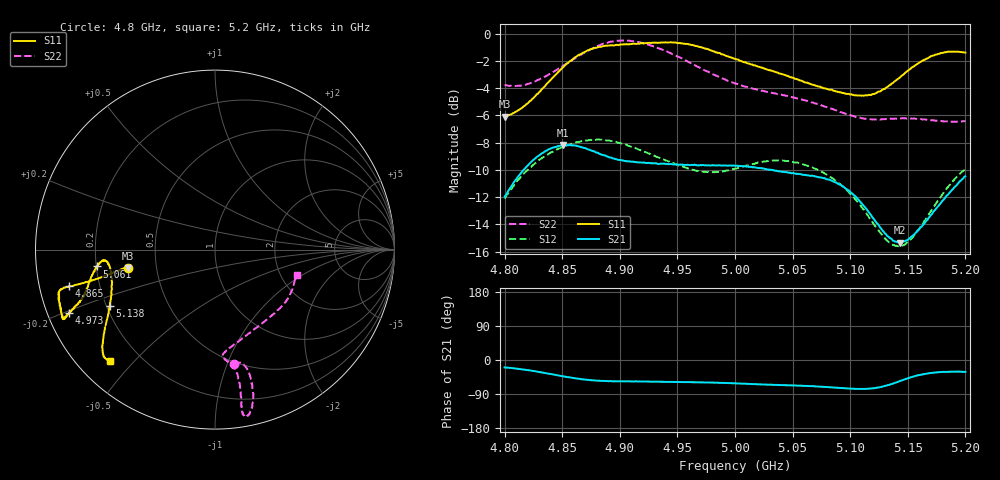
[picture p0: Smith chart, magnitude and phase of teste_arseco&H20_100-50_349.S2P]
! Network Analyzer HP8722D
! Hewlett-Packard
! Data name: Linha & Wilkinson
! Saver's name: Rodrigo Anjos
! Comments: Teste da utilização de aquisição
! continua pelo VNA HP8722D
! Time and date: 6/5/2025 15:28
!  Frequency  S11  S21  S12  S22
# HZ  S  MA R 50
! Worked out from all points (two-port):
!   401 points, 4.8 GHz to 5.2 GHz, reference 50 ohm
!   highest |S21| = -8.16 dB at 4.851 GHz (marker M1); lowest = -15.3 dB at 5.143 GHz (marker M2)
!   |S21| within 3 dB of the highest: 4.806 GHz to 5.093 GHz (286.5 MHz wide, 5.79 % of centre); 5.191973 GHz to end of sweep
!   lowest |S11| = -6.1 dB at 4.8 GHz (marker M3), VSWR 2.97, Z = 17 - j4.6 ohm
!   |S11| at or under -10 dB: nowhere
!   |S22| runs from -6.5 to -0.5 dB; largest |S21 - S12| = 0.62
!   S11 on the Smith chart (normalised r, x): 4.8 GHz: 0.34, -0.09; 4.865 GHz: 0.09, -0.12; 4.973 GHz: 0.06, -0.21; 5.061 GHz: 0.20, -0.07; 5.138 GHz: 0.21, -0.24; 5.2 GHz: 0.09, -0.43
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4.8e9  0.4967 -168.1  0.2518 -19.6  0.2483 -140.7  0.6489 -80.4
4.823e9  0.5697 -167.5  0.3377 -28.0  0.3244 -143.7  0.6601 -76.0
4.851e9  0.7552 -165.7  0.3907 -43.1  0.3843 -149.2  0.7647 -74.5
4.865e9  0.8394 -165.9  0.3851 -49.8  0.4016 -151.5  0.8331 -75.1
4.867e9  0.8465 -165.8  0.3828 -50.9  0.4031 -151.9  0.8428 -75.4
4.88e9  0.8893 -165.4  0.3656 -54.5  0.4088 -154.0  0.9003 -76.7
4.9e9  0.9136 -162.6  0.3437 -56.2  0.3969 -156.4  0.9438 -79.1
4.934e9  0.9278 -156.3  0.3325 -57.3  0.3511 -155.5  0.8839 -80.5
4.973e9  0.8867 -156.6  0.3289 -59.3  0.3108 -145.8  0.7367 -79.7
5e9  0.8099 -158.9  0.3276 -61.7  0.3198 -137.2  0.6575 -81.2
5.036e9  0.722 -165.5  0.314 -65.9  0.3427 -134.3  0.6019 -85.6
5.061e9  0.6631 -171.9  0.3034 -68.2  0.3298 -136.1  0.5695 -84.0
5.067e9  0.6502 -172.9  0.3012 -69.1  0.3231 -136.6  0.5593 -82.7
5.084e9  0.6241 -174.5  0.2889 -72.4  0.2957 -138.3  0.5303 -76.3
5.102e9  0.5968 -171.8  0.2584 -75.7  0.2535 -138.6  0.4996 -66.0
5.116e9  0.5966 -165.5  0.2215 -75.8  0.213 -135.5  0.4863 -55.7
5.134e9  0.6471 -154.1  0.1783 -65.4  0.1711 -120.8  0.4869 -43.2
5.138e9  0.6663 -151.8  0.1733 -61.1  0.1674 -115.6  0.4872 -40.9
5.143e9  0.6906 -149.2  0.1711 -55.9  0.1659 -109.0  0.4886 -38.0
5.154e9  0.7544 -144.3  0.1808 -44.5  0.1784 -95.1  0.4882 -32.3
5.172e9  0.8323 -139.0  0.2212 -33.6  0.2295 -81.1  0.4815 -24.6
5.2e9  0.8531 -133.4  0.2997 -31.4  0.3187 -76.8  0.4776 -17.4
